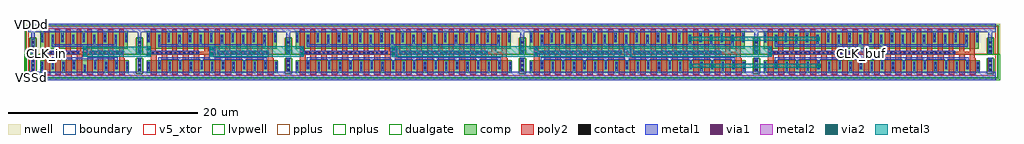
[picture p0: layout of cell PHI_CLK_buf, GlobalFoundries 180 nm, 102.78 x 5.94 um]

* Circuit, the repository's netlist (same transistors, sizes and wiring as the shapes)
* NGSPICE file created from PHI_CLK_buf.ext - technology: gf180mcuD

.subckt gf180mcu_fd_sc_mcu9t5v0__inv_20 I VDD VSS ZN VNW VPW
X0 ZN I VDD VNW pfet_05v0 ad=0.5673p pd=2.45u as=0.5673p ps=2.45u w=1.83u l=0.5u
X1 VDD I ZN VNW pfet_05v0 ad=0.5673p pd=2.45u as=0.5673p ps=2.45u w=1.83u l=0.5u
X2 VSS I ZN VPW nfet_05v0 ad=0.3432p pd=1.84u as=0.3432p ps=1.84u w=1.32u l=0.6u
X3 ZN I VDD VNW pfet_05v0 ad=0.5673p pd=2.45u as=0.5673p ps=2.45u w=1.83u l=0.5u
X4 VSS I ZN VPW nfet_05v0 ad=0.3432p pd=1.84u as=0.3432p ps=1.84u w=1.32u l=0.6u
X5 VDD I ZN VNW pfet_05v0 ad=0.5673p pd=2.45u as=0.5673p ps=2.45u w=1.83u l=0.5u
X6 ZN I VDD VNW pfet_05v0 ad=0.5673p pd=2.45u as=0.5673p ps=2.45u w=1.83u l=0.5u
X7 VSS I ZN VPW nfet_05v0 ad=0.3432p pd=1.84u as=0.3432p ps=1.84u w=1.32u l=0.6u
X8 ZN I VSS VPW nfet_05v0 ad=0.3432p pd=1.84u as=0.3432p ps=1.84u w=1.32u l=0.6u
X9 ZN I VSS VPW nfet_05v0 ad=0.3432p pd=1.84u as=0.3432p ps=1.84u w=1.32u l=0.6u
X10 VDD I ZN VNW pfet_05v0 ad=0.5673p pd=2.45u as=0.5673p ps=2.45u w=1.83u l=0.5u
X11 VDD I ZN VNW pfet_05v0 ad=0.8052p pd=4.54u as=0.5673p ps=2.45u w=1.83u l=0.5u
X12 ZN I VSS VPW nfet_05v0 ad=0.3432p pd=1.84u as=0.3432p ps=1.84u w=1.32u l=0.6u
X13 ZN I VDD VNW pfet_05v0 ad=0.5673p pd=2.45u as=0.5673p ps=2.45u w=1.83u l=0.5u
X14 ZN I VSS VPW nfet_05v0 ad=0.3432p pd=1.84u as=0.3432p ps=1.84u w=1.32u l=0.6u
X15 VSS I ZN VPW nfet_05v0 ad=0.3432p pd=1.84u as=0.3432p ps=1.84u w=1.32u l=0.6u
X16 VSS I ZN VPW nfet_05v0 ad=0.3432p pd=1.84u as=0.3432p ps=1.84u w=1.32u l=0.6u
X17 VDD I ZN VNW pfet_05v0 ad=0.5673p pd=2.45u as=0.5673p ps=2.45u w=1.83u l=0.5u
X18 VDD I ZN VNW pfet_05v0 ad=0.5673p pd=2.45u as=0.5673p ps=2.45u w=1.83u l=0.5u
X19 VDD I ZN VNW pfet_05v0 ad=0.5673p pd=2.45u as=0.5673p ps=2.45u w=1.83u l=0.5u
X20 ZN I VSS VPW nfet_05v0 ad=0.3432p pd=1.84u as=0.5808p ps=3.52u w=1.32u l=0.6u
X21 ZN I VDD VNW pfet_05v0 ad=0.5673p pd=2.45u as=0.5673p ps=2.45u w=1.83u l=0.5u
X22 ZN I VSS VPW nfet_05v0 ad=0.3432p pd=1.84u as=0.3432p ps=1.84u w=1.32u l=0.6u
X23 VSS I ZN VPW nfet_05v0 ad=0.3432p pd=1.84u as=0.3432p ps=1.84u w=1.32u l=0.6u
X24 ZN I VDD VNW pfet_05v0 ad=0.5673p pd=2.45u as=0.5673p ps=2.45u w=1.83u l=0.5u
X25 VSS I ZN VPW nfet_05v0 ad=0.3432p pd=1.84u as=0.3432p ps=1.84u w=1.32u l=0.6u
X26 VDD I ZN VNW pfet_05v0 ad=0.5673p pd=2.45u as=0.5673p ps=2.45u w=1.83u l=0.5u
X27 ZN I VSS VPW nfet_05v0 ad=0.3432p pd=1.84u as=0.3432p ps=1.84u w=1.32u l=0.6u
X28 ZN I VSS VPW nfet_05v0 ad=0.3432p pd=1.84u as=0.3432p ps=1.84u w=1.32u l=0.6u
X29 VSS I ZN VPW nfet_05v0 ad=0.5808p pd=3.52u as=0.3432p ps=1.84u w=1.32u l=0.6u
X30 VDD I ZN VNW pfet_05v0 ad=0.5673p pd=2.45u as=0.5673p ps=2.45u w=1.83u l=0.5u
X31 ZN I VSS VPW nfet_05v0 ad=0.3432p pd=1.84u as=0.3432p ps=1.84u w=1.32u l=0.6u
X32 ZN I VDD VNW pfet_05v0 ad=0.5673p pd=2.45u as=0.5673p ps=2.45u w=1.83u l=0.5u
X33 ZN I VDD VNW pfet_05v0 ad=0.5673p pd=2.45u as=0.5673p ps=2.45u w=1.83u l=0.5u
X34 ZN I VSS VPW nfet_05v0 ad=0.3432p pd=1.84u as=0.3432p ps=1.84u w=1.32u l=0.6u
X35 ZN I VDD VNW pfet_05v0 ad=0.5673p pd=2.45u as=0.8052p ps=4.54u w=1.83u l=0.5u
X36 VDD I ZN VNW pfet_05v0 ad=0.5673p pd=2.45u as=0.5673p ps=2.45u w=1.83u l=0.5u
X37 VSS I ZN VPW nfet_05v0 ad=0.3432p pd=1.84u as=0.3432p ps=1.84u w=1.32u l=0.6u
X38 ZN I VDD VNW pfet_05v0 ad=0.5673p pd=2.45u as=0.5673p ps=2.45u w=1.83u l=0.5u
X39 VSS I ZN VPW nfet_05v0 ad=0.3432p pd=1.84u as=0.3432p ps=1.84u w=1.32u l=0.6u
.ends

.subckt gf180mcu_fd_sc_mcu9t5v0__inv_8 I VDD VSS ZN VNW VPW
X0 ZN I VDD VNW pfet_05v0 ad=0.5673p pd=2.45u as=0.5673p ps=2.45u w=1.83u l=0.5u
X1 VSS I ZN VPW nfet_05v0 ad=0.3432p pd=1.84u as=0.3432p ps=1.84u w=1.32u l=0.6u
X2 VDD I ZN VNW pfet_05v0 ad=0.5673p pd=2.45u as=0.5673p ps=2.45u w=1.83u l=0.5u
X3 VSS I ZN VPW nfet_05v0 ad=0.3432p pd=1.84u as=0.3432p ps=1.84u w=1.32u l=0.6u
X4 ZN I VSS VPW nfet_05v0 ad=0.3432p pd=1.84u as=0.3432p ps=1.84u w=1.32u l=0.6u
X5 VDD I ZN VNW pfet_05v0 ad=0.8052p pd=4.54u as=0.5673p ps=2.45u w=1.83u l=0.5u
X6 ZN I VSS VPW nfet_05v0 ad=0.3432p pd=1.84u as=0.3432p ps=1.84u w=1.32u l=0.6u
X7 VDD I ZN VNW pfet_05v0 ad=0.5673p pd=2.45u as=0.5673p ps=2.45u w=1.83u l=0.5u
X8 ZN I VSS VPW nfet_05v0 ad=0.3432p pd=1.84u as=0.5808p ps=3.52u w=1.32u l=0.6u
X9 ZN I VDD VNW pfet_05v0 ad=0.5673p pd=2.45u as=0.5673p ps=2.45u w=1.83u l=0.5u
X10 VDD I ZN VNW pfet_05v0 ad=0.5673p pd=2.45u as=0.5673p ps=2.45u w=1.83u l=0.5u
X11 ZN I VSS VPW nfet_05v0 ad=0.3432p pd=1.84u as=0.3432p ps=1.84u w=1.32u l=0.6u
X12 ZN I VDD VNW pfet_05v0 ad=0.5673p pd=2.45u as=0.5673p ps=2.45u w=1.83u l=0.5u
X13 ZN I VDD VNW pfet_05v0 ad=0.5673p pd=2.45u as=0.8052p ps=4.54u w=1.83u l=0.5u
X14 VSS I ZN VPW nfet_05v0 ad=0.5808p pd=3.52u as=0.3432p ps=1.84u w=1.32u l=0.6u
X15 VSS I ZN VPW nfet_05v0 ad=0.3432p pd=1.84u as=0.3432p ps=1.84u w=1.32u l=0.6u
.ends

.subckt gf180mcu_fd_sc_mcu9t5v0__inv_12 I VDD VSS ZN VNW VPW
X0 ZN I VDD VNW pfet_05v0 ad=0.5673p pd=2.45u as=0.5673p ps=2.45u w=1.83u l=0.5u
X1 VSS I ZN VPW nfet_05v0 ad=0.3432p pd=1.84u as=0.3432p ps=1.84u w=1.32u l=0.6u
X2 ZN I VDD VNW pfet_05v0 ad=0.5673p pd=2.45u as=0.5673p ps=2.45u w=1.83u l=0.5u
X3 VSS I ZN VPW nfet_05v0 ad=0.3432p pd=1.84u as=0.3432p ps=1.84u w=1.32u l=0.6u
X4 VDD I ZN VNW pfet_05v0 ad=0.5673p pd=2.45u as=0.5673p ps=2.45u w=1.83u l=0.5u
X5 ZN I VDD VNW pfet_05v0 ad=0.5673p pd=2.45u as=0.5673p ps=2.45u w=1.83u l=0.5u
X6 VSS I ZN VPW nfet_05v0 ad=0.3432p pd=1.84u as=0.3432p ps=1.84u w=1.32u l=0.6u
X7 ZN I VSS VPW nfet_05v0 ad=0.3432p pd=1.84u as=0.3432p ps=1.84u w=1.32u l=0.6u
X8 VDD I ZN VNW pfet_05v0 ad=0.5673p pd=2.45u as=0.5673p ps=2.45u w=1.83u l=0.5u
X9 ZN I VSS VPW nfet_05v0 ad=0.3432p pd=1.84u as=0.3432p ps=1.84u w=1.32u l=0.6u
X10 VSS I ZN VPW nfet_05v0 ad=0.5808p pd=3.52u as=0.3432p ps=1.84u w=1.32u l=0.6u
X11 VDD I ZN VNW pfet_05v0 ad=0.5673p pd=2.45u as=0.5673p ps=2.45u w=1.83u l=0.5u
X12 VDD I ZN VNW pfet_05v0 ad=0.5673p pd=2.45u as=0.5673p ps=2.45u w=1.83u l=0.5u
X13 ZN I VSS VPW nfet_05v0 ad=0.3432p pd=1.84u as=0.5808p ps=3.52u w=1.32u l=0.6u
X14 ZN I VSS VPW nfet_05v0 ad=0.3432p pd=1.84u as=0.3432p ps=1.84u w=1.32u l=0.6u
X15 ZN I VDD VNW pfet_05v0 ad=0.5673p pd=2.45u as=0.5673p ps=2.45u w=1.83u l=0.5u
X16 VDD I ZN VNW pfet_05v0 ad=0.5673p pd=2.45u as=0.5673p ps=2.45u w=1.83u l=0.5u
X17 ZN I VSS VPW nfet_05v0 ad=0.3432p pd=1.84u as=0.3432p ps=1.84u w=1.32u l=0.6u
X18 VDD I ZN VNW pfet_05v0 ad=0.8052p pd=4.54u as=0.5673p ps=2.45u w=1.83u l=0.5u
X19 ZN I VSS VPW nfet_05v0 ad=0.3432p pd=1.84u as=0.3432p ps=1.84u w=1.32u l=0.6u
X20 ZN I VDD VNW pfet_05v0 ad=0.5673p pd=2.45u as=0.5673p ps=2.45u w=1.83u l=0.5u
X21 ZN I VDD VNW pfet_05v0 ad=0.5673p pd=2.45u as=0.8052p ps=4.54u w=1.83u l=0.5u
X22 VSS I ZN VPW nfet_05v0 ad=0.3432p pd=1.84u as=0.3432p ps=1.84u w=1.32u l=0.6u
X23 VSS I ZN VPW nfet_05v0 ad=0.3432p pd=1.84u as=0.3432p ps=1.84u w=1.32u l=0.6u
.ends

.subckt PHI_CLK_buf VDDd VSSd CLK_in CLK_buf
Xgf180mcu_fd_sc_mcu9t5v0__inv_20_0 gf180mcu_fd_sc_mcu9t5v0__inv_20_1/I VDDd VSSd CLK_buf
+ VDDd VSSd gf180mcu_fd_sc_mcu9t5v0__inv_20
Xgf180mcu_fd_sc_mcu9t5v0__inv_20_1 gf180mcu_fd_sc_mcu9t5v0__inv_20_1/I VDDd VSSd CLK_buf
+ VDDd VSSd gf180mcu_fd_sc_mcu9t5v0__inv_20
Xgf180mcu_fd_sc_mcu9t5v0__inv_20_2 gf180mcu_fd_sc_mcu9t5v0__inv_20_2/I VDDd VSSd gf180mcu_fd_sc_mcu9t5v0__inv_20_1/I
+ VDDd VSSd gf180mcu_fd_sc_mcu9t5v0__inv_20
Xgf180mcu_fd_sc_mcu9t5v0__inv_8_0 CLK_in VDDd VSSd gf180mcu_fd_sc_mcu9t5v0__inv_8_0/ZN
+ VDDd VSSd gf180mcu_fd_sc_mcu9t5v0__inv_8
Xgf180mcu_fd_sc_mcu9t5v0__inv_12_0 gf180mcu_fd_sc_mcu9t5v0__inv_8_0/ZN VDDd VSSd gf180mcu_fd_sc_mcu9t5v0__inv_20_2/I
+ VDDd VSSd gf180mcu_fd_sc_mcu9t5v0__inv_12
.ends

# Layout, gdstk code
import gdstk
lib = gdstk.Library(unit=1e-6, precision=5e-09)
def R(c, l, rs):  # rectangles x0, y0, x1, y1
    for r in rs: c.add(gdstk.rectangle(r[:2], r[2:], *l))
def A(c, l, x, y, w, h, nx, ny, dx, dy):  # array of equal rectangles
    R(c, l, [(x+i*dx, y+j*dy, x+i*dx+w, y+j*dy+h) for i in range(nx) for j in range(ny)])
def P(c, l, *ps):  # polygons
    for p in ps: c.add(gdstk.Polygon(p, *l))
boundary = (0, 0)
nwell = (21, 0)
comp = (22, 0)
poly2 = (30, 0)
pplus = (31, 0)
nplus = (32, 0)
contact = (33, 0)
metal1 = (34, 0)
via1 = (35, 0)
metal2 = (36, 0)
via2 = (38, 0)
metal3 = (42, 0)
dualgate = (55, 0)
v5_xtor = (112, 1)
lvpwell = (204, 0)

gf180mcu_fd_sc_mcu9t5v0_ = lib.new_cell('gf180mcu_fd_sc_mcu9t5v0__filltie')
R(gf180mcu_fd_sc_mcu9t5v0_, boundary, [(0,0,1.12,5.04)])
R(gf180mcu_fd_sc_mcu9t5v0_, nwell, [(-0.43,2.265,1.55,5.47)])
R(gf180mcu_fd_sc_mcu9t5v0_, comp, [(0.36,0.41,0.72,1.785), (0.36,2.425,0.72,3.855)])
R(gf180mcu_fd_sc_mcu9t5v0_, pplus, [(0.2,0.25,0.88,1.865)])
P(gf180mcu_fd_sc_mcu9t5v0_, pplus, [(-0.2,2.265),(-0.2,5.24),(1.32,5.24),(1.32,2.265),(0.88,2.265),(0.88,4.015),(0.2,4.015),(0.2,2.265)])
P(gf180mcu_fd_sc_mcu9t5v0_, nplus, [(-0.2,-0.2),(-0.2,2.265),(0.2,2.265),(0.2,4.015),(0.88,4.015),(0.88,1.865),(0.2,1.865),(0.2,0.25),(0.88,0.25),(0.88,4.015),(0.88,2.265),(1.32,2.265),(1.32,-0.2)])
A(gf180mcu_fd_sc_mcu9t5v0_, contact, 0.43, 0.555, 0.22, 0.22, 1, 3, 0, 0.47)
A(gf180mcu_fd_sc_mcu9t5v0_, contact, 0.43, 2.495, 0.22, 0.22, 1, 3, 0, 0.47)
P(gf180mcu_fd_sc_mcu9t5v0_, metal1, [(0,-0.45),(0,0.45),(0.33,0.45),(0.33,1.91),(0.71,1.91),(0.71,0.45),(1.12,0.45),(1.12,-0.45)],
  [(0.33,2.34),(0.33,4.59),(0,4.59),(0,5.49),(1.12,5.49),(1.12,4.59),(0.71,4.59),(0.71,2.34)])
R(gf180mcu_fd_sc_mcu9t5v0_, dualgate, [(-0.28,-0.28,1.4,5.32)])
R(gf180mcu_fd_sc_mcu9t5v0_, v5_xtor, [(0,0,1.12,5.04)])
R(gf180mcu_fd_sc_mcu9t5v0_, lvpwell, [(-0.43,-0.43,1.55,2.265)])
gf180mcu_fd_sc_mcu9t5v0_.add(gdstk.Label('VSS', (0.56,-0.45), layer=34, texttype=10))
gf180mcu_fd_sc_mcu9t5v0_.add(gdstk.Label('VDD', (0.56,5.49), layer=34, texttype=10))
gf180mcu_fd_sc_mcu9t5v0_.add(gdstk.Label('& Vendor GLOBALFOUNDRIES', (0,2), layer=63, texttype=63))
gf180mcu_fd_sc_mcu9t5v0_.add(gdstk.Label('& Product GF018hv5v_green_sc9', (0,1.5), layer=63, texttype=63))
gf180mcu_fd_sc_mcu9t5v0_.add(gdstk.Label('& Version 2015q2v2', (0,1), layer=63, texttype=63))
gf180mcu_fd_sc_mcu9t5v0_.add(gdstk.Label('& Metric 1.00', (0,0.5), layer=63, texttype=63))

c_gf180mcu_fd_sc_mcu9t5v0_ = lib.new_cell('gf180mcu_fd_sc_mcu9t5v0__inv_12')
R(c_gf180mcu_fd_sc_mcu9t5v0_, boundary, [(0,0,14.56,5.04)])
R(c_gf180mcu_fd_sc_mcu9t5v0_, nwell, [(-0.43,2.265,14.99,5.47)])
R(c_gf180mcu_fd_sc_mcu9t5v0_, comp, [(0.18,0.345,13.98,1.665), (0.18,2.865,13.88,4.695)])
P(c_gf180mcu_fd_sc_mcu9t5v0_, poly2, [(0.62,0.125),(0.62,2.205),(0.17,2.205),(0.17,2.565),(0.62,2.565),(0.62,4.915),(1.12,4.915),(1.12,2.565),(1.74,2.565),(1.74,4.915),(2.24,4.915),(2.24,2.565),(2.86,2.565),(2.86,4.915),(3.36,4.915),(3.36,2.565),(3.98,2.565),(3.98,4.915),(4.48,4.915),(4.48,2.565),(5.1,2.565),(5.1,4.915),(5.6,4.915),(5.6,2.565),(6.22,2.565),(6.22,4.915),(6.72,4.915),(6.72,2.565),(7.34,2.565),(7.34,4.915),(7.84,4.915),(7.84,2.565),(8.46,2.565),(8.46,4.915),(8.96,4.915),(8.96,2.565),(9.58,2.565),(9.58,4.915),(10.08,4.915),(10.08,2.565),(10.7,2.565),(10.7,4.915),(11.2,4.915),(11.2,2.565),(11.82,2.565),(11.82,4.915),(12.32,4.915),(12.32,2.565),(12.94,2.565),(12.94,4.915),(13.44,4.915),(13.44,1.885),(13.54,1.885),(13.54,0.125),(12.94,0.125),(12.94,2.205),(12.42,2.205),(12.42,0.125),(11.82,0.125),(11.82,2.205),(11.3,2.205),(11.3,0.125),(10.7,0.125),(10.7,2.205),(10.18,2.205),(10.18,0.125),(9.58,0.125),(9.58,2.205),(9.06,2.205),(9.06,0.125),(8.46,0.125),(8.46,2.205),(7.94,2.205),(7.94,0.125),(7.34,0.125),(7.34,2.205),(6.82,2.205),(6.82,0.125),(6.22,0.125),(6.22,2.205),(5.7,2.205),(5.7,0.125),(5.1,0.125),(5.1,2.205),(4.58,2.205),(4.58,0.125),(3.98,0.125),(3.98,2.205),(3.46,2.205),(3.46,0.125),(2.86,0.125),(2.86,2.205),(2.34,2.205),(2.34,0.125),(1.74,0.125),(1.74,2.205),(1.22,2.205),(1.22,0.125)])
R(c_gf180mcu_fd_sc_mcu9t5v0_, pplus, [(-0.2,2.265,14.76,5.24)])
R(c_gf180mcu_fd_sc_mcu9t5v0_, nplus, [(-0.2,-0.2,14.76,2.265)])
A(c_gf180mcu_fd_sc_mcu9t5v0_, contact, 0.25, 0.74, 0.22, 0.22, 13, 2, 1.12, 0.47)
A(c_gf180mcu_fd_sc_mcu9t5v0_, contact, 0.24, 2.275, 0.22, 0.22, 12, 1, 0.47, 0)
A(c_gf180mcu_fd_sc_mcu9t5v0_, contact, 7.605, 2.275, 0.22, 0.22, 12, 1, 0.47, 0)
A(c_gf180mcu_fd_sc_mcu9t5v0_, contact, 2.39, 3.61, 0.22, 0.22, 11, 2, 1.12, 0.47)
R(c_gf180mcu_fd_sc_mcu9t5v0_, contact, [(0.25,3.61,0.47,3.83), (1.37,3.61,1.59,3.83), (0.25,4.08,0.47,4.3), (1.37,4.08,1.59,4.3)])
R(c_gf180mcu_fd_sc_mcu9t5v0_, metal1, [(7.6,2.215,13,2.65), (0.18,2.27,5.69,2.65)])
P(c_gf180mcu_fd_sc_mcu9t5v0_, metal1, [(1.365,0.68),(1.365,1.95),(6.755,1.95),(6.755,3.09),(1.365,3.09),(1.365,4.36),(1.595,4.36),(1.595,3.32),(3.505,3.32),(3.505,4.36),(3.735,4.36),(3.735,3.32),(5.745,3.32),(5.745,4.36),(5.975,4.36),(5.975,3.32),(7.985,3.32),(7.985,4.36),(8.215,4.36),(8.215,3.32),(10.225,3.32),(10.225,4.36),(10.455,4.36),(10.455,3.32),(12.465,3.32),(12.465,4.36),(12.695,4.36),(12.695,3.09),(7.37,3.09),(7.37,1.95),(12.795,1.95),(12.795,0.68),(12.565,0.68),(12.565,1.72),(10.555,1.72),(10.555,0.68),(10.325,0.68),(10.325,1.72),(8.315,1.72),(8.315,0.68),(8.085,0.68),(8.085,1.72),(6.075,1.72),(6.075,0.68),(5.845,0.68),(5.845,1.72),(3.835,1.72),(3.835,0.68),(3.605,0.68),(3.605,1.72),(1.625,1.72),(1.625,0.68)],
  [(0,-0.45),(0,0.45),(0.245,0.45),(0.245,1.49),(0.475,1.49),(0.475,0.45),(2.485,0.45),(2.485,1.49),(2.715,1.49),(2.715,0.45),(4.725,0.45),(4.725,1.49),(4.955,1.49),(4.955,0.45),(6.965,0.45),(6.965,1.49),(7.195,1.49),(7.195,0.45),(9.205,0.45),(9.205,1.49),(9.435,1.49),(9.435,0.45),(11.445,0.45),(11.445,1.49),(11.675,1.49),(11.675,0.45),(13.685,0.45),(13.685,1.49),(13.915,1.49),(13.915,0.45),(14.56,0.45),(14.56,-0.45)],
  [(0.245,3.55),(0.245,4.59),(0,4.59),(0,5.49),(14.56,5.49),(14.56,4.59),(13.815,4.59),(13.815,3.55),(13.585,3.55),(13.585,4.59),(11.575,4.59),(11.575,3.55),(11.345,3.55),(11.345,4.59),(9.335,4.59),(9.335,3.55),(9.105,3.55),(9.105,4.59),(7.095,4.59),(7.095,3.55),(6.865,3.55),(6.865,4.59),(4.855,4.59),(4.855,3.55),(4.625,3.55),(4.625,4.59),(2.615,4.59),(2.615,3.55),(2.385,3.55),(2.385,4.59),(0.475,4.59),(0.475,3.55)])
R(c_gf180mcu_fd_sc_mcu9t5v0_, dualgate, [(-0.28,-0.28,14.84,5.32)])
R(c_gf180mcu_fd_sc_mcu9t5v0_, v5_xtor, [(0,0,14.56,5.04)])
R(c_gf180mcu_fd_sc_mcu9t5v0_, lvpwell, [(-0.43,-0.43,14.99,2.265)])
c_gf180mcu_fd_sc_mcu9t5v0_.add(gdstk.Label('I', (10.36,2.52), layer=34, texttype=10))
c_gf180mcu_fd_sc_mcu9t5v0_.add(gdstk.Label('VDD', (7.28,5.49), layer=34, texttype=10))
c_gf180mcu_fd_sc_mcu9t5v0_.add(gdstk.Label('VSS', (7.28,-0.45), layer=34, texttype=10))
c_gf180mcu_fd_sc_mcu9t5v0_.add(gdstk.Label('ZN', (7,2.52), layer=34, texttype=10))
c_gf180mcu_fd_sc_mcu9t5v0_.add(gdstk.Label('& Vendor GLOBALFOUNDRIES', (0,2), layer=63, texttype=63))
c_gf180mcu_fd_sc_mcu9t5v0_.add(gdstk.Label('& Product GF018hv5v_green_sc9', (0,1.5), layer=63, texttype=63))
c_gf180mcu_fd_sc_mcu9t5v0_.add(gdstk.Label('& Version 2015q2v2', (0,1), layer=63, texttype=63))
c_gf180mcu_fd_sc_mcu9t5v0_.add(gdstk.Label('& Metric 1.00', (0,0.5), layer=63, texttype=63))
c_gf180mcu_fd_sc_mcu9t5v0_.add(gdstk.Label('VNW', (0.345,3.92), layer=21, texttype=10))
c_gf180mcu_fd_sc_mcu9t5v0_.add(gdstk.Label('VPW', (0.34,-0.085), layer=204, texttype=10))

c_gf180mcu_fd_sc_mcu9t5v0__ = lib.new_cell('gf180mcu_fd_sc_mcu9t5v0__inv_8')
R(c_gf180mcu_fd_sc_mcu9t5v0__, boundary, [(0,0,10.08,5.04)])
R(c_gf180mcu_fd_sc_mcu9t5v0__, nwell, [(-0.43,2.265,10.51,5.47)])
R(c_gf180mcu_fd_sc_mcu9t5v0__, comp, [(0.18,0.345,9.5,1.665), (0.18,2.865,9.4,4.695)])
P(c_gf180mcu_fd_sc_mcu9t5v0__, poly2, [(0.62,0.125),(0.62,4.915),(1.12,4.915),(1.12,2.565),(1.74,2.565),(1.74,4.915),(2.24,4.915),(2.24,2.565),(2.86,2.565),(2.86,4.915),(3.36,4.915),(3.36,2.565),(3.98,2.565),(3.98,4.915),(4.48,4.915),(4.48,2.56),(5.1,2.56),(5.1,4.915),(5.6,4.915),(5.6,2.565),(6.22,2.565),(6.22,4.915),(6.72,4.915),(6.72,2.565),(7.34,2.565),(7.34,4.915),(7.84,4.915),(7.84,2.565),(8.46,2.565),(8.46,4.915),(8.96,4.915),(8.96,1.885),(9.06,1.885),(9.06,0.125),(8.46,0.125),(8.46,2.205),(7.94,2.205),(7.94,0.125),(7.34,0.125),(7.34,2.205),(6.82,2.205),(6.82,0.125),(6.22,0.125),(6.22,2.205),(5.7,2.205),(5.7,0.125),(5.1,0.125),(5.1,2.205),(4.58,2.205),(4.58,0.125),(3.98,0.125),(3.98,2.205),(3.46,2.205),(3.46,0.125),(2.86,0.125),(2.86,2.205),(2.34,2.205),(2.34,0.125),(1.74,0.125),(1.74,2.205),(1.22,2.205),(1.22,0.125)])
R(c_gf180mcu_fd_sc_mcu9t5v0__, pplus, [(-0.2,2.265,10.28,5.24)])
R(c_gf180mcu_fd_sc_mcu9t5v0__, nplus, [(-0.2,-0.2,10.28,2.265)])
A(c_gf180mcu_fd_sc_mcu9t5v0__, contact, 0.25, 0.74, 0.22, 0.22, 4, 2, 1.12, 0.47)
A(c_gf180mcu_fd_sc_mcu9t5v0__, contact, 5.85, 0.74, 0.22, 0.22, 4, 2, 1.12, 0.47)
A(c_gf180mcu_fd_sc_mcu9t5v0__, contact, 0.69, 2.275, 0.22, 0.22, 8, 1, 0.47, 0)
A(c_gf180mcu_fd_sc_mcu9t5v0__, contact, 5.365, 2.275, 0.22, 0.22, 8, 1, 0.47, 0)
A(c_gf180mcu_fd_sc_mcu9t5v0__, contact, 2.39, 3.61, 0.22, 0.22, 7, 2, 1.12, 0.47)
R(c_gf180mcu_fd_sc_mcu9t5v0__, contact, [(4.73,0.415,4.95,0.635), (4.73,0.885,4.95,1.105), (0.25,3.61,0.47,3.83), (1.37,3.61,1.59,3.83), (0.25,4.08,0.47,4.3), (1.37,4.08,1.59,4.3)])
R(c_gf180mcu_fd_sc_mcu9t5v0__, metal1, [(5.36,2.215,8.88,2.65), (0.63,2.265,4.26,2.645)])
P(c_gf180mcu_fd_sc_mcu9t5v0__, metal1, [(1.365,0.68),(1.365,1.985),(4.63,1.985),(4.63,3.09),(1.365,3.09),(1.365,4.36),(1.595,4.36),(1.595,3.32),(3.505,3.32),(3.505,4.36),(3.735,4.36),(3.735,3.32),(5.745,3.32),(5.745,4.36),(5.975,4.36),(5.975,3.32),(7.985,3.32),(7.985,4.36),(8.215,4.36),(8.215,3.09),(5.13,3.09),(5.13,1.985),(8.315,1.985),(8.315,0.68),(8.085,0.68),(8.085,1.755),(6.075,1.755),(6.075,0.68),(5.845,0.68),(5.845,1.755),(3.835,1.755),(3.835,0.68),(3.575,0.68),(3.575,1.755),(1.595,1.755),(1.595,0.68)],
  [(0,-0.45),(0,0.45),(0.245,0.45),(0.245,1.49),(0.475,1.49),(0.475,0.45),(2.485,0.45),(2.485,1.49),(2.715,1.49),(2.715,0.45),(4.725,0.45),(4.725,1.165),(4.955,1.165),(4.955,0.45),(6.965,0.45),(6.965,1.49),(7.195,1.49),(7.195,0.45),(9.205,0.45),(9.205,1.49),(9.435,1.49),(9.435,0.45),(10.08,0.45),(10.08,-0.45)],
  [(0.245,3.55),(0.245,4.59),(0,4.59),(0,5.49),(10.08,5.49),(10.08,4.59),(9.335,4.59),(9.335,3.55),(9.105,3.55),(9.105,4.59),(7.095,4.59),(7.095,3.55),(6.865,3.55),(6.865,4.59),(4.855,4.59),(4.855,3.55),(4.625,3.55),(4.625,4.59),(2.615,4.59),(2.615,3.55),(2.385,3.55),(2.385,4.59),(0.475,4.59),(0.475,3.55)])
R(c_gf180mcu_fd_sc_mcu9t5v0__, dualgate, [(-0.28,-0.28,10.36,5.32)])
R(c_gf180mcu_fd_sc_mcu9t5v0__, v5_xtor, [(0,0,10.08,5.04)])
R(c_gf180mcu_fd_sc_mcu9t5v0__, lvpwell, [(-0.43,-0.43,10.51,2.265)])
c_gf180mcu_fd_sc_mcu9t5v0__.add(gdstk.Label('I', (7,2.52), layer=34, texttype=10))
c_gf180mcu_fd_sc_mcu9t5v0__.add(gdstk.Label('VDD', (0.36,4.59), layer=34, texttype=10))
c_gf180mcu_fd_sc_mcu9t5v0__.add(gdstk.Label('VSS', (9.32,0.45), layer=34, texttype=10))
c_gf180mcu_fd_sc_mcu9t5v0__.add(gdstk.Label('ZN', (4.76,2.52), layer=34, texttype=10))
c_gf180mcu_fd_sc_mcu9t5v0__.add(gdstk.Label('& Vendor GLOBALFOUNDRIES', (0,2), layer=63, texttype=63))
c_gf180mcu_fd_sc_mcu9t5v0__.add(gdstk.Label('& Product GF018hv5v_green_sc9', (0,1.5), layer=63, texttype=63))
c_gf180mcu_fd_sc_mcu9t5v0__.add(gdstk.Label('& Version 2015q2v2', (0,1), layer=63, texttype=63))
c_gf180mcu_fd_sc_mcu9t5v0__.add(gdstk.Label('& Metric 1.00', (0,0.5), layer=63, texttype=63))
c_gf180mcu_fd_sc_mcu9t5v0__.add(gdstk.Label('VNW', (0.345,3.92), layer=21, texttype=10))
c_gf180mcu_fd_sc_mcu9t5v0__.add(gdstk.Label('VPW', (0.34,-0.085), layer=204, texttype=10))

c_gf180mcu_fd_sc_mcu9t5v0___ = lib.new_cell('gf180mcu_fd_sc_mcu9t5v0__inv_20')
R(c_gf180mcu_fd_sc_mcu9t5v0___, boundary, [(0,0,23.52,5.04)])
R(c_gf180mcu_fd_sc_mcu9t5v0___, nwell, [(-0.43,2.265,23.95,5.47)])
R(c_gf180mcu_fd_sc_mcu9t5v0___, comp, [(0.18,0.345,22.94,1.665), (0.18,2.865,22.84,4.695)])
P(c_gf180mcu_fd_sc_mcu9t5v0___, poly2, [(0.62,0.125),(0.62,4.915),(1.12,4.915),(1.12,2.565),(1.74,2.565),(1.74,4.915),(2.24,4.915),(2.24,2.565),(2.86,2.565),(2.86,4.915),(3.36,4.915),(3.36,2.565),(3.98,2.565),(3.98,4.915),(4.48,4.915),(4.48,2.565),(5.1,2.565),(5.1,4.915),(5.6,4.915),(5.6,2.565),(6.22,2.565),(6.22,4.915),(6.72,4.915),(6.72,2.565),(7.34,2.565),(7.34,4.915),(7.84,4.915),(7.84,2.565),(8.46,2.565),(8.46,4.915),(8.96,4.915),(8.96,2.565),(9.58,2.565),(9.58,4.915),(10.08,4.915),(10.08,2.555),(10.7,2.555),(10.7,4.915),(11.2,4.915),(11.2,2.565),(11.82,2.565),(11.82,4.915),(12.32,4.915),(12.32,2.565),(12.94,2.565),(12.94,4.915),(13.44,4.915),(13.44,2.565),(14.06,2.565),(14.06,4.915),(14.56,4.915),(14.56,2.565),(15.18,2.565),(15.18,4.915),(15.68,4.915),(15.68,2.565),(16.3,2.565),(16.3,4.915),(16.8,4.915),(16.8,2.565),(17.42,2.565),(17.42,4.915),(17.92,4.915),(17.92,2.565),(18.54,2.565),(18.54,4.915),(19.04,4.915),(19.04,2.565),(19.66,2.565),(19.66,4.915),(20.16,4.915),(20.16,2.565),(20.78,2.565),(20.78,4.915),(21.28,4.915),(21.28,2.565),(21.9,2.565),(21.9,4.915),(22.4,4.915),(22.4,1.885),(22.5,1.885),(22.5,0.125),(21.9,0.125),(21.9,2.205),(21.38,2.205),(21.38,0.125),(20.78,0.125),(20.78,2.205),(20.26,2.205),(20.26,0.125),(19.66,0.125),(19.66,2.205),(19.14,2.205),(19.14,0.125),(18.54,0.125),(18.54,2.205),(18.02,2.205),(18.02,0.125),(17.42,0.125),(17.42,2.205),(16.9,2.205),(16.9,0.125),(16.3,0.125),(16.3,2.205),(15.78,2.205),(15.78,0.125),(15.18,0.125),(15.18,2.205),(14.66,2.205),(14.66,0.125),(14.06,0.125),(14.06,2.205),(13.54,2.205),(13.54,0.125),(12.94,0.125),(12.94,2.205),(12.42,2.205),(12.42,0.125),(11.82,0.125),(11.82,2.205),(11.3,2.205),(11.3,0.125),(10.7,0.125),(10.7,2.205),(10.18,2.205),(10.18,0.125),(9.58,0.125),(9.58,2.205),(9.06,2.205),(9.06,0.125),(8.46,0.125),(8.46,2.205),(7.94,2.205),(7.94,0.125),(7.34,0.125),(7.34,2.205),(6.82,2.205),(6.82,0.125),(6.22,0.125),(6.22,2.205),(5.7,2.205),(5.7,0.125),(5.1,0.125),(5.1,2.205),(4.58,2.205),(4.58,0.125),(3.98,0.125),(3.98,2.205),(3.46,2.205),(3.46,0.125),(2.86,0.125),(2.86,2.205),(2.34,2.205),(2.34,0.125),(1.74,0.125),(1.74,2.205),(1.22,2.205),(1.22,0.125)])
R(c_gf180mcu_fd_sc_mcu9t5v0___, pplus, [(-0.2,2.265,23.72,5.24)])
R(c_gf180mcu_fd_sc_mcu9t5v0___, nplus, [(-0.2,-0.2,23.72,2.265)])
A(c_gf180mcu_fd_sc_mcu9t5v0___, contact, 0.25, 0.74, 0.22, 0.22, 21, 2, 1.12, 0.47)
A(c_gf180mcu_fd_sc_mcu9t5v0___, contact, 0.69, 2.275, 0.22, 0.22, 20, 1, 0.47, 0)
A(c_gf180mcu_fd_sc_mcu9t5v0___, contact, 11.17, 2.275, 0.22, 0.22, 20, 1, 0.47, 0)
A(c_gf180mcu_fd_sc_mcu9t5v0___, contact, 2.39, 3.61, 0.22, 0.22, 19, 2, 1.12, 0.47)
R(c_gf180mcu_fd_sc_mcu9t5v0___, contact, [(0.25,3.61,0.47,3.83), (1.37,3.61,1.59,3.83), (0.25,4.08,0.47,4.3), (1.37,4.08,1.59,4.3)])
R(c_gf180mcu_fd_sc_mcu9t5v0___, metal1, [(0.63,2.27,9.9,2.65), (11.11,2.27,20.38,2.65)])
P(c_gf180mcu_fd_sc_mcu9t5v0___, metal1, [(1.335,0.68),(1.335,1.95),(10.13,1.95),(10.13,3.09),(1.365,3.09),(1.365,4.36),(1.595,4.36),(1.595,3.32),(3.505,3.32),(3.505,4.36),(3.735,4.36),(3.735,3.32),(5.745,3.32),(5.745,4.36),(5.975,4.36),(5.975,3.32),(7.985,3.32),(7.985,4.36),(8.215,4.36),(8.215,3.32),(10.225,3.32),(10.225,4.36),(10.455,4.36),(10.455,3.32),(12.465,3.32),(12.465,4.36),(12.695,4.36),(12.695,3.32),(14.705,3.32),(14.705,4.36),(14.935,4.36),(14.935,3.32),(16.945,3.32),(16.945,4.36),(17.175,4.36),(17.175,3.32),(19.185,3.32),(19.185,4.36),(19.415,4.36),(19.415,3.32),(21.425,3.32),(21.425,4.36),(21.655,4.36),(21.655,3.09),(10.88,3.09),(10.88,1.95),(21.755,1.95),(21.755,0.68),(21.525,0.68),(21.525,1.72),(19.515,1.72),(19.515,0.68),(19.285,0.68),(19.285,1.72),(17.275,1.72),(17.275,0.68),(17.045,0.68),(17.045,1.72),(15.035,1.72),(15.035,0.68),(14.805,0.68),(14.805,1.72),(12.795,1.72),(12.795,0.68),(12.565,0.68),(12.565,1.72),(10.555,1.72),(10.555,0.68),(10.325,0.68),(10.325,1.72),(8.315,1.72),(8.315,0.68),(8.085,0.68),(8.085,1.72),(6.075,1.72),(6.075,0.68),(5.845,0.68),(5.845,1.72),(3.835,1.72),(3.835,0.68),(3.605,0.68),(3.605,1.72),(1.595,1.72),(1.595,0.68)],
  [(0,-0.45),(0,0.45),(0.245,0.45),(0.245,1.49),(0.475,1.49),(0.475,0.45),(2.485,0.45),(2.485,1.49),(2.715,1.49),(2.715,0.45),(4.725,0.45),(4.725,1.49),(4.955,1.49),(4.955,0.45),(6.965,0.45),(6.965,1.49),(7.195,1.49),(7.195,0.45),(9.205,0.45),(9.205,1.49),(9.435,1.49),(9.435,0.45),(11.445,0.45),(11.445,1.49),(11.675,1.49),(11.675,0.45),(13.685,0.45),(13.685,1.49),(13.915,1.49),(13.915,0.45),(15.925,0.45),(15.925,1.49),(16.155,1.49),(16.155,0.45),(18.165,0.45),(18.165,1.49),(18.395,1.49),(18.395,0.45),(20.405,0.45),(20.405,1.49),(20.635,1.49),(20.635,0.45),(22.645,0.45),(22.645,1.49),(22.875,1.49),(22.875,0.45),(23.52,0.45),(23.52,-0.45)],
  [(0.245,3.55),(0.245,4.59),(0,4.59),(0,5.49),(23.52,5.49),(23.52,4.59),(22.775,4.59),(22.775,3.55),(22.545,3.55),(22.545,4.59),(20.535,4.59),(20.535,3.55),(20.305,3.55),(20.305,4.59),(18.295,4.59),(18.295,3.55),(18.065,3.55),(18.065,4.59),(16.055,4.59),(16.055,3.55),(15.825,3.55),(15.825,4.59),(13.815,4.59),(13.815,3.55),(13.585,3.55),(13.585,4.59),(11.575,4.59),(11.575,3.55),(11.345,3.55),(11.345,4.59),(9.335,4.59),(9.335,3.55),(9.105,3.55),(9.105,4.59),(7.095,4.59),(7.095,3.55),(6.865,3.55),(6.865,4.59),(4.855,4.59),(4.855,3.55),(4.625,3.55),(4.625,4.59),(2.615,4.59),(2.615,3.55),(2.385,3.55),(2.385,4.59),(0.475,4.59),(0.475,3.55)])
R(c_gf180mcu_fd_sc_mcu9t5v0___, dualgate, [(-0.28,-0.28,23.8,5.32)])
R(c_gf180mcu_fd_sc_mcu9t5v0___, v5_xtor, [(0,0,23.52,5.04)])
R(c_gf180mcu_fd_sc_mcu9t5v0___, lvpwell, [(-0.43,-0.43,23.95,2.265)])
c_gf180mcu_fd_sc_mcu9t5v0___.add(gdstk.Label('I', (15.96,2.52), layer=34, texttype=10))
c_gf180mcu_fd_sc_mcu9t5v0___.add(gdstk.Label('VDD', (11.76,5.49), layer=34, texttype=10))
c_gf180mcu_fd_sc_mcu9t5v0___.add(gdstk.Label('VSS', (11.76,-0.45), layer=34, texttype=10))
c_gf180mcu_fd_sc_mcu9t5v0___.add(gdstk.Label('ZN', (10.36,2.52), layer=34, texttype=10))
c_gf180mcu_fd_sc_mcu9t5v0___.add(gdstk.Label('& Vendor GLOBALFOUNDRIES', (0,2), layer=63, texttype=63))
c_gf180mcu_fd_sc_mcu9t5v0___.add(gdstk.Label('& Product GF018hv5v_green_sc9', (0,1.5), layer=63, texttype=63))
c_gf180mcu_fd_sc_mcu9t5v0___.add(gdstk.Label('& Version 2015q2v2', (0,1), layer=63, texttype=63))
c_gf180mcu_fd_sc_mcu9t5v0___.add(gdstk.Label('& Metric 1.00', (0,0.5), layer=63, texttype=63))
c_gf180mcu_fd_sc_mcu9t5v0___.add(gdstk.Label('VNW', (0.345,3.92), layer=21, texttype=10))
c_gf180mcu_fd_sc_mcu9t5v0___.add(gdstk.Label('VPW', (0.34,-0.085), layer=204, texttype=10))

via_dev = lib.new_cell('via_dev')
R(via_dev, metal1, [(0,0,0.4,1.1)])
R(via_dev, via1, [(0.07,0.155,0.33,0.415), (0.07,0.685,0.33,0.945)])
R(via_dev, metal2, [(0,0,0.4,1.1)])
R(via_dev, via2, [(0.07,0.155,0.33,0.415), (0.07,0.685,0.33,0.945)])
R(via_dev, metal3, [(0,0,0.4,1.1)])

via_dev_1 = lib.new_cell('via_dev$1')
R(via_dev_1, metal1, [(0,0,0.4,0.4)])
R(via_dev_1, via1, [(0.07,0.07,0.33,0.33)])
R(via_dev_1, metal2, [(0,0,0.4,0.4)])
R(via_dev_1, via2, [(0.07,0.07,0.33,0.33)])
R(via_dev_1, metal3, [(0,0,0.4,0.4)])

phi_clk_buf = lib.new_cell('PHI_CLK_buf')
R(phi_clk_buf, metal3, [(66.505,-1.715,80.36,-1.315), (2.69,-0.575,9.805,0.52), (16.06,-0.575,25.935,0.525), (35.2,-0.575,75.215,0.525), (66.41,1.14,80.265,1.54)])
phi_clk_buf.add(gdstk.Reference(gf180mcu_fd_sc_mcu9t5v0_, (-3.095,-2.575)))
phi_clk_buf.add(gdstk.Reference(c_gf180mcu_fd_sc_mcu9t5v0_, (9.225,-2.575)))
phi_clk_buf.add(gdstk.Reference(gf180mcu_fd_sc_mcu9t5v0_, (8.105,-2.575)))
phi_clk_buf.add(gdstk.Reference(c_gf180mcu_fd_sc_mcu9t5v0__, (-1.975,-2.575)))
phi_clk_buf.add(gdstk.Reference(gf180mcu_fd_sc_mcu9t5v0_, (23.785,-2.575)))
phi_clk_buf.add(gdstk.Reference(c_gf180mcu_fd_sc_mcu9t5v0___, (24.905,-2.575)))
phi_clk_buf.add(gdstk.Reference(gf180mcu_fd_sc_mcu9t5v0_, (73.065,-2.575)))
phi_clk_buf.add(gdstk.Reference(c_gf180mcu_fd_sc_mcu9t5v0___, (49.545,-2.575)))
phi_clk_buf.add(gdstk.Reference(gf180mcu_fd_sc_mcu9t5v0_, (48.425,-2.575)))
phi_clk_buf.add(gdstk.Reference(gf180mcu_fd_sc_mcu9t5v0_, (97.705,-2.575)))
phi_clk_buf.add(gdstk.Reference(c_gf180mcu_fd_sc_mcu9t5v0___, (74.185,-2.575)))
phi_clk_buf.add(gdstk.Reference(via_dev, (9.405,-0.575)))
phi_clk_buf.add(gdstk.Reference(via_dev, (2.69,-0.575)))
phi_clk_buf.add(gdstk.Reference(via_dev, (16.06,-0.575)))
phi_clk_buf.add(gdstk.Reference(via_dev, (25.535,-0.575)))
phi_clk_buf.add(gdstk.Reference(via_dev, (35.2,-0.575)))
phi_clk_buf.add(gdstk.Reference(via_dev, (50.175,-0.575)))
phi_clk_buf.add(gdstk.Reference(via_dev, (74.815,-0.575)))
phi_clk_buf.add(gdstk.Reference(via_dev_1, (70.915,1.14)))
phi_clk_buf.add(gdstk.Reference(via_dev_1, (68.66,1.14)))
phi_clk_buf.add(gdstk.Reference(via_dev_1, (66.41,1.14)))
phi_clk_buf.add(gdstk.Reference(via_dev_1, (79.865,1.14)))
phi_clk_buf.add(gdstk.Reference(via_dev_1, (77.63,1.14)))
phi_clk_buf.add(gdstk.Reference(via_dev_1, (75.48,1.14)))
phi_clk_buf.add(gdstk.Reference(via_dev_1, (71.01,-1.715)))
phi_clk_buf.add(gdstk.Reference(via_dev_1, (68.755,-1.715)))
phi_clk_buf.add(gdstk.Reference(via_dev_1, (66.505,-1.715)))
phi_clk_buf.add(gdstk.Reference(via_dev_1, (79.96,-1.715)))
phi_clk_buf.add(gdstk.Reference(via_dev_1, (77.725,-1.715)))
phi_clk_buf.add(gdstk.Reference(via_dev_1, (75.45,-1.715)))
phi_clk_buf.add(gdstk.Label('VDDd', (-2.77,2.805), layer=34, texttype=10))
phi_clk_buf.add(gdstk.Label('VSSd', (-2.77,-2.75), layer=34, texttype=10))
phi_clk_buf.add(gdstk.Label('CLK_in', (-1.105,-0.165), layer=34, texttype=10))
phi_clk_buf.add(gdstk.Label('CLK_buf', (84.67,-0.165), layer=34, texttype=10))

lib.write_gds('PHI_CLK_buf.gds')
